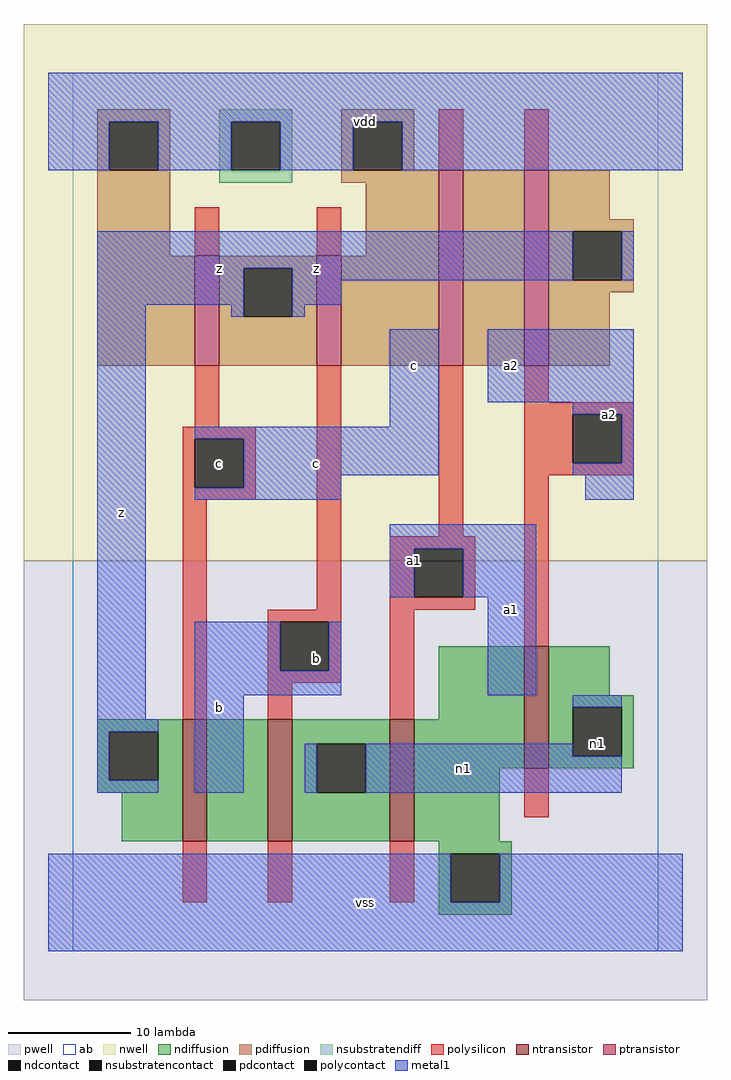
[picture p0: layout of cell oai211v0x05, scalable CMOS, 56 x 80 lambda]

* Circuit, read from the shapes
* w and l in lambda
.subckt oai211v0x05 a1 a2 b c n1 vdd vss z
M1 n2 c z VSUBS nfet w=10 l=2
M2 n1 b n2 VSUBS nfet w=10 l=2
M3 vss a1 n1 VSUBS nfet w=10 l=2
M4 n1 a2 vss VSUBS nfet w=10 l=2
M5 z c vdd vdd pfet w=9 l=2
M6 vdd b z vdd pfet w=9 l=2
M7 n3 a1 vdd vdd pfet w=16 l=2
M8 z a2 n3 vdd pfet w=16 l=2
.ends

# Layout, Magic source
magic
tech scmos
<< ab >>
rect 0 0 48 72
<< pwell >>
rect -4 -4 52 32
<< nwell >>
rect -4 32 52 76
<< polysilicon >>
rect 30 64 32 69
rect 37 64 39 69
rect 10 57 12 61
rect 20 57 22 61
rect 10 43 12 48
rect 9 42 15 43
rect 9 38 10 42
rect 14 38 15 42
rect 9 37 15 38
rect 9 19 11 37
rect 20 28 22 48
rect 30 34 32 48
rect 37 45 39 48
rect 37 44 46 45
rect 37 40 41 44
rect 45 40 46 44
rect 37 39 46 40
rect 16 27 22 28
rect 16 23 17 27
rect 21 23 22 27
rect 16 22 22 23
rect 26 33 33 34
rect 26 29 28 33
rect 32 29 33 33
rect 26 28 33 29
rect 16 19 18 22
rect 26 19 28 28
rect 37 25 39 39
rect 37 11 39 15
rect 9 4 11 9
rect 16 4 18 9
rect 26 4 28 9
<< ndiffusion >>
rect 30 19 37 25
rect 2 18 9 19
rect 2 14 3 18
rect 7 14 9 18
rect 2 13 9 14
rect 4 9 9 13
rect 11 9 16 19
rect 18 17 26 19
rect 18 13 20 17
rect 24 13 26 17
rect 18 9 26 13
rect 28 15 37 19
rect 39 21 44 25
rect 39 20 46 21
rect 39 16 41 20
rect 45 16 46 20
rect 39 15 46 16
rect 28 9 35 15
rect 30 8 36 9
rect 30 4 31 8
rect 35 4 36 8
rect 30 3 36 4
<< pdiffusion >>
rect 2 68 8 69
rect 2 64 3 68
rect 7 64 8 68
rect 2 57 8 64
rect 22 68 28 69
rect 22 64 23 68
rect 27 64 28 68
rect 22 63 30 64
rect 24 57 30 63
rect 2 48 10 57
rect 12 56 20 57
rect 12 52 14 56
rect 18 52 20 56
rect 12 48 20 52
rect 22 48 30 57
rect 32 48 37 64
rect 39 60 44 64
rect 39 59 46 60
rect 39 55 41 59
rect 45 55 46 59
rect 39 54 46 55
rect 39 48 44 54
<< metal1 >>
rect -2 68 50 72
rect -2 64 3 68
rect 7 64 13 68
rect 17 64 23 68
rect 27 64 50 68
rect 2 56 41 59
rect 2 53 14 56
rect 2 19 6 53
rect 13 52 14 53
rect 18 55 41 56
rect 45 55 46 59
rect 18 53 22 55
rect 18 52 19 53
rect 26 43 30 51
rect 34 45 46 51
rect 10 42 30 43
rect 14 39 30 42
rect 41 44 46 45
rect 45 40 46 44
rect 41 39 46 40
rect 14 38 22 39
rect 10 37 22 38
rect 42 37 46 39
rect 26 33 38 35
rect 26 29 28 33
rect 32 29 38 33
rect 10 23 17 27
rect 21 23 22 27
rect 10 21 22 23
rect 34 21 38 29
rect 2 18 7 19
rect 2 14 3 18
rect 2 13 7 14
rect 10 13 14 21
rect 41 20 45 21
rect 19 13 20 17
rect 24 16 41 17
rect 24 13 45 16
rect -2 4 31 8
rect 35 4 50 8
rect -2 0 50 4
<< ntransistor >>
rect 9 9 11 19
rect 16 9 18 19
rect 26 9 28 19
rect 37 15 39 25
<< ptransistor >>
rect 10 48 12 57
rect 20 48 22 57
rect 30 48 32 64
rect 37 48 39 64
<< polycontact >>
rect 10 38 14 42
rect 41 40 45 44
rect 17 23 21 27
rect 28 29 32 33
<< ndcontact >>
rect 3 14 7 18
rect 20 13 24 17
rect 41 16 45 20
rect 31 4 35 8
<< pdcontact >>
rect 3 64 7 68
rect 23 64 27 68
rect 14 52 18 56
rect 41 55 45 59
<< nsubstratencontact >>
rect 13 64 17 68
<< nsubstratendiff >>
rect 12 68 18 69
rect 12 64 13 68
rect 17 64 18 68
rect 12 63 18 64
<< labels >>
rlabel metal1 4 36 4 36 6 z
rlabel metal1 12 20 12 20 6 b
rlabel polycontact 20 24 20 24 6 b
rlabel metal1 20 40 20 40 6 c
rlabel polycontact 12 40 12 40 6 c
rlabel metal1 20 56 20 56 6 z
rlabel metal1 12 56 12 56 6 z
rlabel metal1 24 4 24 4 6 vss
rlabel metal1 28 32 28 32 6 a1
rlabel metal1 28 48 28 48 6 c
rlabel metal1 24 68 24 68 6 vdd
rlabel metal1 32 15 32 15 6 n1
rlabel ndcontact 43 17 43 17 6 n1
rlabel metal1 36 28 36 28 6 a1
rlabel metal1 36 48 36 48 6 a2
rlabel metal1 44 44 44 44 6 a2
<< end >>
